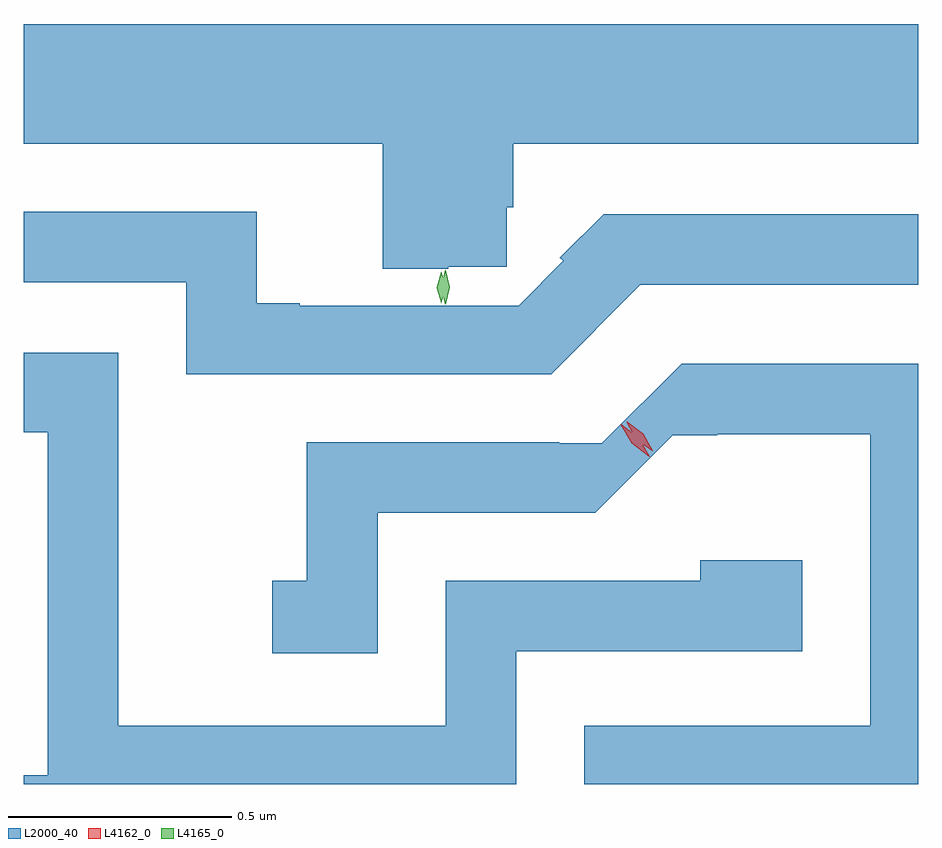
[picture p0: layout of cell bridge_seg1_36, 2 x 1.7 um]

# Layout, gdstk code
import gdstk
lib = gdstk.Library(unit=1e-6, precision=1e-09)
def P(c, l, *ps):  # polygons
    for p in ps: c.add(gdstk.Polygon(p, *l))
L2000_40 = (2000, 40)
L4162_0 = (4162, 0)
L4165_0 = (4165, 0)

bridge_seg1_36 = lib.new_cell('bridge_seg1_36')
P(bridge_seg1_36, L2000_40, [(1536.807,877.101),(1536.938,877.101),(1536.938,877.234),(1536.952,877.234),(1536.952,877.376),(1537.858,877.376),(1537.858,877.644),(1535.858,877.644),(1535.858,877.376),(1536.661,877.376),(1536.661,877.096),(1536.807,877.096)],
  [(1537.237,877.061),(1537.858,877.061),(1537.858,877.219),(1537.155,877.219),(1537.057,877.121),(1537.064,877.114),(1536.965,877.014),(1536.475,877.014),(1536.475,877.019),(1536.379,877.019),(1536.379,877.224),(1535.858,877.224),(1535.858,877.066),(1536.221,877.066),(1536.221,876.861),(1537.037,876.861)],
  [(1536.959,876.241),(1537.599,876.241),(1537.599,876.444),(1537.371,876.444),(1537.371,876.399),(1536.801,876.399),(1536.801,876.074),(1536.069,876.074),(1536.069,876.909),(1535.858,876.909),(1535.858,876.731),(1535.911,876.731),(1535.911,875.964),(1535.858,875.964),(1535.858,875.944),(1536.959,875.944)],
  [(1537.858,876.884),(1537.329,876.884),(1537.151,876.706),(1537.055,876.706),(1537.055,876.709),(1536.491,876.709),(1536.491,876.399),(1536.413,876.399),(1536.413,876.236),(1536.649,876.236),(1536.649,876.551),(1537.136,876.551),(1537.309,876.724),(1537.409,876.724),(1537.409,876.726),(1537.751,876.726),(1537.751,876.074),(1537.111,876.074),(1537.111,875.944),(1537.858,875.944)])
P(bridge_seg1_36, L4162_0, [(1537.264,876.688),(1537.228,876.714),(1537.206,876.753),(1537.206,876.754),(1537.207,876.754),(1537.243,876.727),(1537.264,876.689),(1537.264,876.688)],
  [(1537.257,876.676),(1537.218,876.706),(1537.193,876.748),(1537.193,876.749),(1537.194,876.749),(1537.233,876.719),(1537.258,876.676),(1537.258,876.676)])
P(bridge_seg1_36, L4165_0, [(1536.791,877.019),(1536.791,877.02),(1536.781,877.054),(1536.791,877.09),(1536.791,877.09),(1536.792,877.09),(1536.801,877.054),(1536.792,877.02)],
  [(1536.8,877.017),(1536.8,877.017),(1536.79,877.055),(1536.8,877.093),(1536.8,877.093),(1536.801,877.093),(1536.81,877.055),(1536.801,877.017)])

lib.write_gds('bridge_seg1_36.gds')
